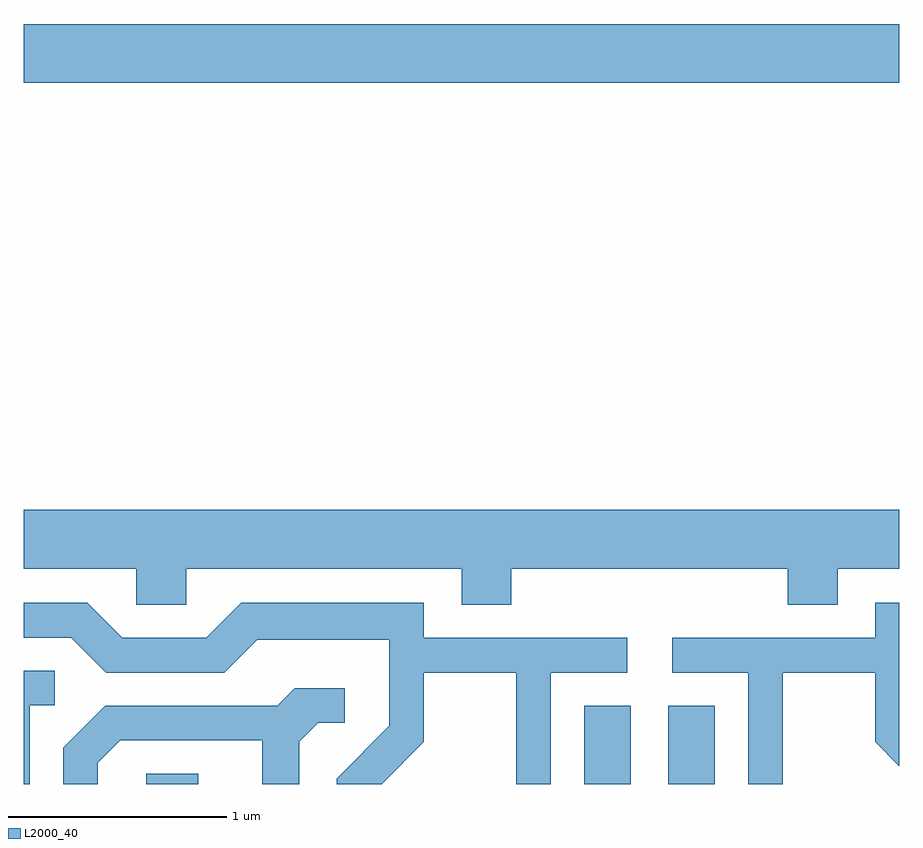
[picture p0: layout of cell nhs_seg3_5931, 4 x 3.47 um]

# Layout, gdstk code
import gdstk
lib = gdstk.Library(unit=1e-6, precision=1e-09)
def R(c, l, rs):  # rectangles x0, y0, x1, y1
    for r in rs: c.add(gdstk.rectangle(r[:2], r[2:], *l))
def P(c, l, *ps):  # polygons
    for p in ps: c.add(gdstk.Polygon(p, *l))
L2000_40 = (2000, 40)

nhs_seg3_5931 = lib.new_cell('nhs_seg3_5931')
R(nhs_seg3_5931, L2000_40, [(360.171,1153.892,360.409,1153.939), (362.171,1153.892,362.384,1154.249), (362.556,1153.892,362.769,1154.249), (359.611,1157.096,363.611,1157.364)])
P(nhs_seg3_5931, L2000_40, [(360.354,1154.876),(361.611,1154.876),(361.611,1154.711),(361.839,1154.711),(361.839,1154.876),(363.101,1154.876),(363.101,1154.711),(363.329,1154.711),(363.329,1154.876),(363.611,1154.876),(363.611,1155.144),(359.611,1155.144),(359.611,1154.876),(360.126,1154.876),(360.126,1154.711),(360.354,1154.711)],
  [(361.439,1154.084),(361.439,1154.401),(361.861,1154.401),(361.861,1153.892),(362.019,1153.892),(362.019,1154.401),(362.368,1154.401),(362.368,1154.559),(361.439,1154.559),(361.439,1154.719),(360.604,1154.719),(360.444,1154.559),(360.062,1154.559),(359.902,1154.719),(359.611,1154.719),(359.611,1154.561),(359.829,1154.561),(359.989,1154.401),(360.527,1154.401),(360.677,1154.551),(361.281,1154.551),(361.281,1154.157),(361.041,1153.917),(361.041,1153.892),(361.247,1153.892)],
  [(363.079,1154.401),(363.501,1154.401),(363.501,1154.084),(363.611,1153.974),(363.611,1154.719),(363.501,1154.719),(363.501,1154.559),(362.573,1154.559),(362.573,1154.401),(362.921,1154.401),(362.921,1153.892),(363.079,1153.892)],
  [(359.639,1154.251),(359.753,1154.251),(359.753,1154.409),(359.611,1154.409),(359.611,1153.892),(359.639,1153.892)],
  [(359.949,1153.989),(360.052,1154.091),(360.701,1154.091),(360.701,1153.892),(360.869,1153.892),(360.869,1154.084),(360.957,1154.171),(361.078,1154.171),(361.078,1154.329),(360.849,1154.329),(360.769,1154.249),(359.984,1154.249),(359.791,1154.057),(359.791,1153.892),(359.949,1153.892)])

lib.write_gds('nhs_seg3_5931.gds')
